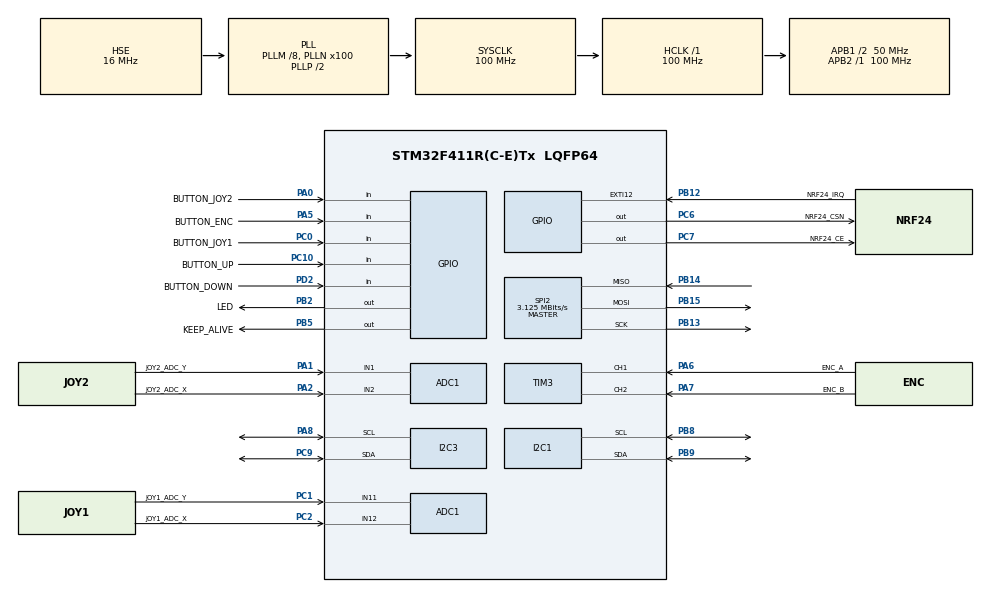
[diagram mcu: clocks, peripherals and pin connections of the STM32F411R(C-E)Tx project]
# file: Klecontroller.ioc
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ADC1.Channel-0\#ChannelRegularConversion=ADC_CHANNEL_11
ADC1.Channel-1\#ChannelRegularConversion=ADC_CHANNEL_12
ADC1.Channel-2\#ChannelRegularConversion=ADC_CHANNEL_1
ADC1.Channel-3\#ChannelRegularConversion=ADC_CHANNEL_2
ADC1.ContinuousConvMode=ENABLE
ADC1.DMAContinuousRequests=ENABLE
ADC1.NbrOfConversion=4
ADC1.NbrOfConversionFlag=1
ADC1.Rank-0\#ChannelRegularConversion=1
ADC1.Rank-1\#ChannelRegularConversion=2
ADC1.Rank-2\#ChannelRegularConversion=3
ADC1.Rank-3\#ChannelRegularConversion=4
ADC1.SamplingTime-0\#ChannelRegularConversion=ADC_SAMPLETIME_480CYCLES
ADC1.SamplingTime-1\#ChannelRegularConversion=ADC_SAMPLETIME_480CYCLES
ADC1.SamplingTime-2\#ChannelRegularConversion=ADC_SAMPLETIME_480CYCLES
ADC1.SamplingTime-3\#ChannelRegularConversion=ADC_SAMPLETIME_480CYCLES
ADC1.master=1
Dma.ADC1.0.Direction=DMA_PERIPH_TO_MEMORY
Dma.ADC1.0.FIFOMode=DMA_FIFOMODE_DISABLE
Dma.ADC1.0.Instance=DMA2_Stream0
Dma.ADC1.0.MemDataAlignment=DMA_MDATAALIGN_HALFWORD
Dma.ADC1.0.MemInc=DMA_MINC_ENABLE
Dma.ADC1.0.Mode=DMA_CIRCULAR
Dma.ADC1.0.PeriphDataAlignment=DMA_PDATAALIGN_HALFWORD
Dma.ADC1.0.PeriphInc=DMA_PINC_DISABLE
Dma.ADC1.0.Priority=DMA_PRIORITY_LOW
Dma.Request0=ADC1
I2C1.I2C_Mode=I2C_Fast
I2C3.I2C_Mode=I2C_Fast
Mcu.Family=STM32F4
Mcu.Name=STM32F411R(C-E)Tx
Mcu.Package=LQFP64
NVIC.ADC_IRQn=true\:0\:0\:false\:true\:true\:3\:true\:true\:true
NVIC.DMA2_Stream0_IRQn=true\:0\:0\:false\:false\:true\:false\:true\:true
NVIC.EXTI15_10_IRQn=true\:0\:0\:false\:true\:true\:1\:true\:true\:true
NVIC.PriorityGroup=NVIC_PRIORITYGROUP_4
NVIC.SPI2_IRQn=true\:0\:0\:false\:true\:true\:2\:true\:true\:true
NVIC.TIM1_UP_TIM10_IRQn=true\:0\:0\:false\:false\:true\:true\:true\:true
PA0-WKUP.GPIO_Label=BUTTON_JOY2
PA0-WKUP.GPIO_PuPd=GPIO_PULLUP
PA0-WKUP.Signal=GPIO_Input
PA1.GPIO_Label=JOY2_ADC_Y
PA1.Signal=ADCx_IN1
PA13.Mode=Trace_Asynchronous_SW
PA13.Signal=SYS_JTMS-SWDIO
PA14.Mode=Trace_Asynchronous_SW
PA14.Signal=SYS_JTCK-SWCLK
PA2.GPIO_Label=JOY2_ADC_X
PA2.Signal=ADCx_IN2
PA5.GPIO_Label=BUTTON_ENC
PA5.GPIO_PuPd=GPIO_PULLUP
PA5.Signal=GPIO_Input
PA6.GPIO_Label=ENC_A
PA6.Signal=S_TIM3_CH1
PA7.GPIO_Label=ENC_B
PA7.Signal=S_TIM3_CH2
PA8.Mode=I2C
PA8.Signal=I2C3_SCL
PB12.GPIO_Label=NRF24_IRQ
PB12.GPIO_ModeDefaultEXTI=GPIO_MODE_IT_FALLING
PB12.Signal=GPXTI12
PB13.Mode=Full_Duplex_Master
PB13.Signal=SPI2_SCK
PB14.Mode=Full_Duplex_Master
PB14.Signal=SPI2_MISO
PB15.Mode=Full_Duplex_Master
PB15.Signal=SPI2_MOSI
PB2.GPIO_Label=LED
PB2.GPIO_Speed=GPIO_SPEED_FREQ_HIGH
PB2.Signal=GPIO_Output
PB3.Mode=Trace_Asynchronous_SW
PB3.Signal=SYS_JTDO-SWO
PB5.GPIO_Label=KEEP_ALIVE
PB5.Signal=GPIO_Output
PB8.Mode=I2C
PB8.Signal=I2C1_SCL
PB9.Mode=I2C
PB9.Signal=I2C1_SDA
PC0.GPIO_Label=BUTTON_JOY1
PC0.GPIO_PuPd=GPIO_PULLUP
PC0.Signal=GPIO_Input
PC1.GPIO_Label=JOY1_ADC_Y
PC1.Signal=ADCx_IN11
PC10.GPIO_Label=BUTTON_UP
PC10.GPIO_PuPd=GPIO_PULLUP
PC10.Signal=GPIO_Input
PC2.GPIO_Label=JOY1_ADC_X
PC2.Signal=ADCx_IN12
PC6.GPIO_Label=NRF24_CSN
PC6.Signal=GPIO_Output
PC7.GPIO_Label=NRF24_CE
PC7.Signal=GPIO_Output
PC9.Mode=I2C
PC9.Signal=I2C3_SDA
PD2.GPIO_Label=BUTTON_DOWN
PD2.GPIO_PuPd=GPIO_PULLUP
PD2.Signal=GPIO_Input
PH0\ -\ OSC_IN.Mode=HSE-External-Oscillator
PH0\ -\ OSC_IN.Signal=RCC_OSC_IN
PH1\ -\ OSC_OUT.Mode=HSE-External-Oscillator
PH1\ -\ OSC_OUT.Signal=RCC_OSC_OUT
ProjectManager.HeapSize=0x200
ProjectManager.StackSize=0x400
ProjectManager.TargetToolchain=STM32CubeIDE
RCC.48MHZClocksFreq_Value=50000000
RCC.AHBFreq_Value=100000000
RCC.APB1CLKDivider=RCC_HCLK_DIV2
RCC.APB1Freq_Value=50000000
RCC.APB1TimFreq_Value=100000000
RCC.APB2Freq_Value=100000000
RCC.APB2TimFreq_Value=100000000
RCC.CortexFreq_Value=100000000
RCC.HCLKFreq_Value=100000000
RCC.HSE_VALUE=16000000
RCC.HSI_VALUE=16000000
RCC.LSE_VALUE=32768
RCC.PLLM=8
RCC.PLLN=100
RCC.PLLSourceVirtual=RCC_PLLSOURCE_HSE
RCC.SYSCLKFreq_VALUE=100000000
RCC.SYSCLKSource=RCC_SYSCLKSOURCE_PLLCLK
RCC.VCOOutputFreq_Value=200000000
SH.ADCx_IN1.0=ADC1_IN1,IN1
SH.ADCx_IN11.0=ADC1_IN11,IN11
SH.ADCx_IN12.0=ADC1_IN12,IN12
SH.ADCx_IN2.0=ADC1_IN2,IN2
SH.S_TIM3_CH1.0=TIM3_CH1,Encoder_Interface
SH.S_TIM3_CH2.0=TIM3_CH2,Encoder_Interface
SPI2.BaudRatePrescaler=SPI_BAUDRATEPRESCALER_16
SPI2.CalculateBaudRate=3.125 MBits/s
SPI2.Direction=SPI_DIRECTION_2LINES
SPI2.Mode=SPI_MODE_MASTER
SPI2.VirtualType=VM_MASTER
TIM10.AutoReloadPreload=TIM_AUTORELOAD_PRELOAD_DISABLE
TIM10.ClockDivision=TIM_CLOCKDIVISION_DIV1
TIM10.Prescaler=49999
TIM3.EncoderMode=TIM_ENCODERMODE_TI12
VP_TIM10_VS_ClockSourceINT.Mode=Enable_Timer
board=custom

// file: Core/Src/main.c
/* USER CODE BEGIN Header */
/**
  ******************************************************************************
  * @file           : main.c
  * @brief          : Main program body
  ******************************************************************************
  * @attention
  *
  * Copyright (c) 2023 STMicroelectronics.
  * All rights reserved.
  *
  * This software is licensed under terms that can be found in the LICENSE file
  * in the root directory of this software component.
  * If no LICENSE file comes with this software, it is provided AS-IS.
  *
  ******************************************************************************
  */
/* USER CODE END Header */
#include "main.h"
#include "adc.h"
#include "dma.h"
#include "i2c.h"
#include "spi.h"
#include "tim.h"
#include "gpio.h"

/* USER CODE BEGIN Includes */
#include "stdio.h"

#include "nRF24.h"
#include "klebot_radio.h"
#include "controller_parser.h"

#include "simple_scheduler.h"
#include "controller_inputs.h"
#include "ssd1106.h"
/* USER CODE END Includes */

/* USER CODE BEGIN PV */
uint32_t last_tick;
/* USER CODE END PV */

void SystemClock_Config(void);
static void MX_NVIC_Init(void);

int main(void)
{

  /* MCU Configuration--------------------------------------------------------*/

  /* Reset of all peripherals, Initializes the Flash interface and the Systick. */
  HAL_Init();

  /* Configure the system clock */
  SystemClock_Config();

  /* Initialize all configured peripherals */
  MX_GPIO_Init();
  MX_DMA_Init();
  MX_I2C1_Init();
  MX_I2C3_Init();
  MX_SPI2_Init();
  MX_TIM3_Init();
  MX_ADC1_Init();
  MX_TIM10_Init();

  /* Initialize interrupts */
  MX_NVIC_Init();
  /* USER CODE BEGIN 2 */
  HAL_GPIO_WritePin(KEEP_ALIVE_GPIO_Port, KEEP_ALIVE_Pin, GPIO_PIN_SET);

  Radio_Init(&hspi2);
  Inputs_Init();
  OLED_Init(&hi2c3);
  /* USER CODE END 2 */

  /* Infinite loop */
  /* USER CODE BEGIN WHILE */
  while (1)
  {

	  SimpleScheduler();

    /* USER CODE END WHILE */

  }
}

void SystemClock_Config(void)
{
  RCC_OscInitTypeDef RCC_OscInitStruct = {0};
  RCC_ClkInitTypeDef RCC_ClkInitStruct = {0};

  /** Configure the main internal regulator output voltage
  */
  __HAL_RCC_PWR_CLK_ENABLE();
  __HAL_PWR_VOLTAGESCALING_CONFIG(PWR_REGULATOR_VOLTAGE_SCALE1);

  /** Initializes the RCC Oscillators according to the specified parameters
  * in the RCC_OscInitTypeDef structure.
  */
  RCC_OscInitStruct.OscillatorType = RCC_OSCILLATORTYPE_HSE;
  RCC_OscInitStruct.HSEState = RCC_HSE_ON;
  RCC_OscInitStruct.PLL.PLLState = RCC_PLL_ON;
  RCC_OscInitStruct.PLL.PLLSource = RCC_PLLSOURCE_HSE;
  RCC_OscInitStruct.PLL.PLLM = 8;
  RCC_OscInitStruct.PLL.PLLN = 100;
  RCC_OscInitStruct.PLL.PLLP = RCC_PLLP_DIV2;
  RCC_OscInitStruct.PLL.PLLQ = 4;
  if (HAL_RCC_OscConfig(&RCC_OscInitStruct) != HAL_OK)
  {
    Error_Handler();
  }

  /** Initializes the CPU, AHB and APB buses clocks
  */
  RCC_ClkInitStruct.ClockType = RCC_CLOCKTYPE_HCLK|RCC_CLOCKTYPE_SYSCLK
                              |RCC_CLOCKTYPE_PCLK1|RCC_CLOCKTYPE_PCLK2;
  RCC_ClkInitStruct.SYSCLKSource = RCC_SYSCLKSOURCE_PLLCLK;
  RCC_ClkInitStruct.AHBCLKDivider = RCC_SYSCLK_DIV1;
  RCC_ClkInitStruct.APB1CLKDivider = RCC_HCLK_DIV2;
  RCC_ClkInitStruct.APB2CLKDivider = RCC_HCLK_DIV1;

  if (HAL_RCC_ClockConfig(&RCC_ClkInitStruct, FLASH_LATENCY_3) != HAL_OK)
  {
    Error_Handler();
  }
}

/**
  * @brief NVIC Configuration.
  * @retval None
  */
static void MX_NVIC_Init(void)
{
  /* EXTI15_10_IRQn interrupt configuration */
  HAL_NVIC_SetPriority(EXTI15_10_IRQn, 0, 0);
  HAL_NVIC_EnableIRQ(EXTI15_10_IRQn);
  /* SPI2_IRQn interrupt configuration */
  HAL_NVIC_SetPriority(SPI2_IRQn, 0, 0);
  HAL_NVIC_EnableIRQ(SPI2_IRQn);
  /* ADC_IRQn interrupt configuration */
  HAL_NVIC_SetPriority(ADC_IRQn, 0, 0);
  HAL_NVIC_EnableIRQ(ADC_IRQn);
}

/* USER CODE BEGIN 4 */
int __io_putchar(int ch)
{
	ITM_SendChar(ch);

	return ch;
}

void HAL_GPIO_EXTI_Callback(uint16_t GPIO_Pin)
{
	if(GPIO_Pin == NRF24_IRQ_Pin)
	{
		nRF24_IRQ_Handler();
	}

}

/* USER CODE END 4 */

void Error_Handler(void)
{
  __disable_irq();
  while (1)
  {
  }
}
